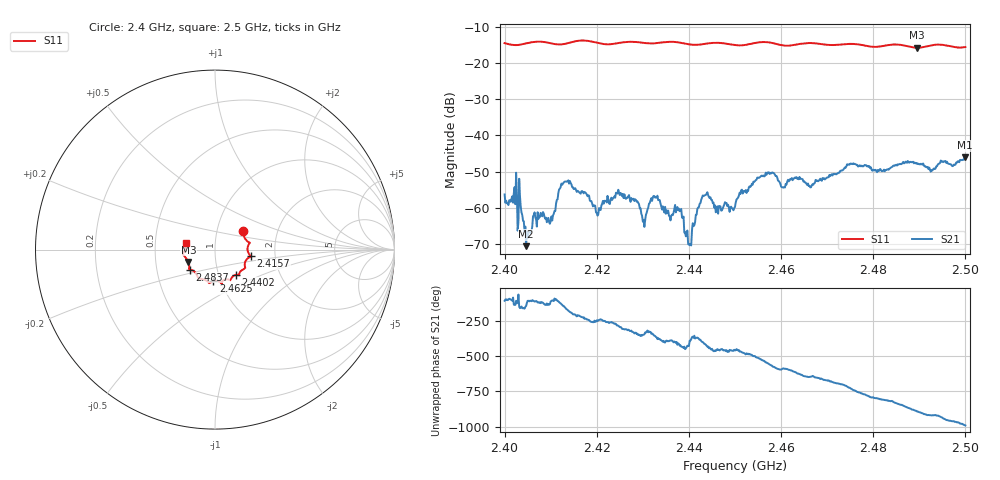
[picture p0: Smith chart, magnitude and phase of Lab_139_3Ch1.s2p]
# Hz S RI R 50
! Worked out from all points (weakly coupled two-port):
!   601 points, 2.4 GHz to 2.5 GHz, reference 50 ohm
!   highest |S21| = -46.06 dB at 2.4998 GHz (marker M1); lowest = -70.6 dB at 2.4047 GHz (marker M2)
!   lowest |S11| = -15.7 dB at 2.4895 GHz (marker M3), VSWR 1.39, Z = 36.8 - j5.18 ohm
!   |S11| at or under -10 dB: start of sweep to end of sweep
!   S12 and S22 are empty: the file has one direction only
!   S11 on the Smith chart (normalised r, x): 2.4 GHz: 1.33, +0.29; 2.4157 GHz: 1.49, -0.11; 2.4402 GHz: 1.20, -0.35; 2.4625 GHz: 0.92, -0.34; 2.4837 GHz: 0.74, -0.17; 2.5 GHz: 0.72, +0.05
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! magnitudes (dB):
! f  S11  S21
! 2.4 GHz  -14.5  -56.3
! 2.4022 GHz  -15.0  -54.3
! 2.4047 GHz  -14.6  -70.6
! 2.4102 GHz  -14.6  -62.3
! 2.4128 GHz  -14.7  -53.0
! 2.4157 GHz  -13.9  -55.6
! 2.4167 GHz  -13.7  -55.5
! 2.4252 GHz  -14.4  -55.9
! 2.4302 GHz  -14.4  -63.3
! 2.4333 GHz  -14.4  -57.9
! 2.4378 GHz  -14.3  -60.2
! 2.4402 GHz  -14.8  -70.3
! 2.4435 GHz  -14.7  -56.5
! 2.45 GHz  -15.0  -59.7
! 2.4572 GHz  -14.2  -50.3
! 2.4625 GHz  -15.0  -52.4
! 2.4667 GHz  -14.5  -53.8
! 2.4833 GHz  -15.0  -49.5
! 2.4837 GHz  -14.9  -49.1
! 2.4895 GHz  -15.7  -47.8
! 2.4998 GHz  -15.6  -46.1
! 2.5 GHz  -15.6  -46.3
